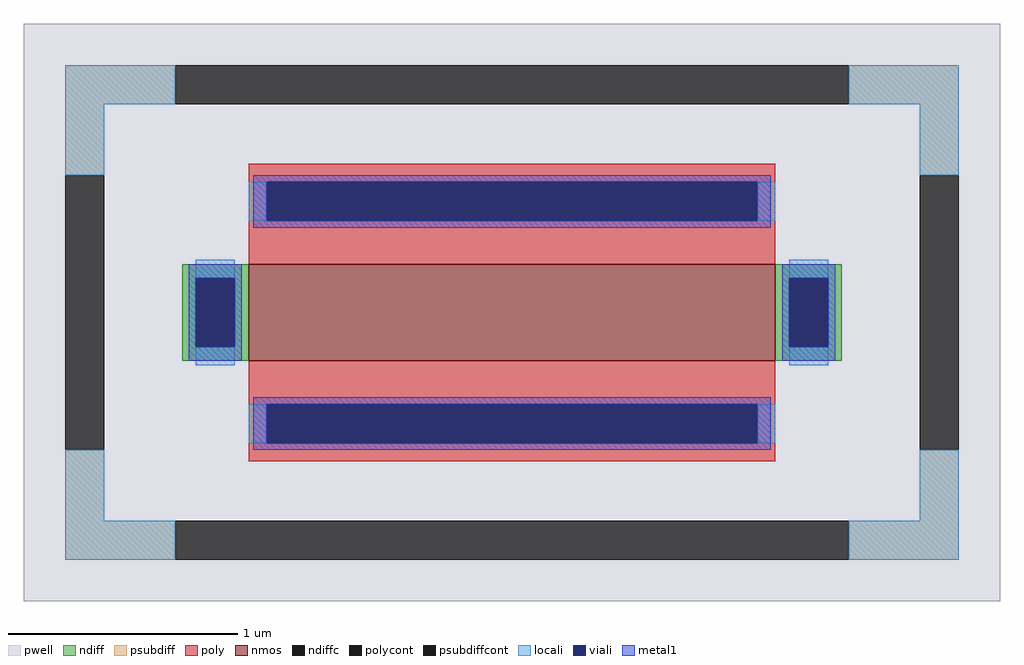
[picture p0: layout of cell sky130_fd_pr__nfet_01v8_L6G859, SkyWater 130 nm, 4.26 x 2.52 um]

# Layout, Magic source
magic
tech sky130A
<< pwell >>
rect -213 -126 213 126
<< nmos >>
rect -115 -21 115 21
<< ndiff >>
rect -144 15 -115 21
rect -144 -15 -138 15
rect -121 -15 -115 15
rect -144 -21 -115 -15
rect 115 15 144 21
rect 115 -15 121 15
rect 138 -15 144 15
rect 115 -21 144 -15
<< ndiffc >>
rect -138 -15 -121 15
rect 121 -15 138 15
<< psubdiff >>
rect -195 91 -147 108
rect 147 91 195 108
rect -195 60 -178 91
rect 178 60 195 91
rect -195 -91 -178 -60
rect 178 -91 195 -60
rect -195 -108 -147 -91
rect 147 -108 195 -91
<< psubdiffcont >>
rect -147 91 147 108
rect -195 -60 -178 60
rect 178 -60 195 60
rect -147 -108 147 -91
<< poly >>
rect -115 57 115 65
rect -115 40 -107 57
rect 107 40 115 57
rect -115 21 115 40
rect -115 -40 115 -21
rect -115 -57 -107 -40
rect 107 -57 115 -40
rect -115 -65 115 -57
<< polycont >>
rect -107 40 107 57
rect -107 -57 107 -40
<< locali >>
rect -195 91 -147 108
rect 147 91 195 108
rect -195 60 -178 91
rect 178 60 195 91
rect -115 40 -107 57
rect 107 40 115 57
rect -138 15 -121 23
rect -138 -23 -121 -15
rect 121 15 138 23
rect 121 -23 138 -15
rect -115 -57 -107 -40
rect 107 -57 115 -40
rect -195 -91 -178 -60
rect 178 -91 195 -60
rect -195 -108 -147 -91
rect 147 -108 195 -91
<< viali >>
rect -107 40 107 57
rect -138 -15 -121 15
rect 121 -15 138 15
rect -107 -57 107 -40
<< metal1 >>
rect -113 57 113 60
rect -113 40 -107 57
rect 107 40 113 57
rect -113 37 113 40
rect -141 15 -118 21
rect -141 -15 -138 15
rect -121 -15 -118 15
rect -141 -21 -118 -15
rect 118 15 141 21
rect 118 -15 121 15
rect 138 -15 141 15
rect 118 -21 141 -15
rect -113 -40 113 -37
rect -113 -57 -107 -40
rect 107 -57 113 -40
rect -113 -60 113 -57
<< properties >>
string FIXED_BBOX -186 -99 186 99
string gencell sky130_fd_pr__nfet_01v8
string library sky130
string parameters w 0.42 l 2.3 m 1 nf 1 diffcov 100 polycov 100 guard 1 glc 1 grc 1 gtc 1 gbc 1 tbcov 100 rlcov 100 topc 1 botc 1 poverlap 0 doverlap 1 lmin 0.15 wmin 0.42 compatible {sky130_fd_pr__nfet_01v8 sky130_fd_pr__nfet_01v8_lvt  sky130_fd_bs_flash__special_sonosfet_star  sky130_fd_pr__nfet_g5v0d10v5 sky130_fd_pr__nfet_05v0_nvt  sky130_fd_pr__nfet_03v3_nvt} full_metal 1 viasrc 100 viadrn 100 viagate 100 viagb 0 viagr 0 viagl 0 viagt 0
<< end >>
